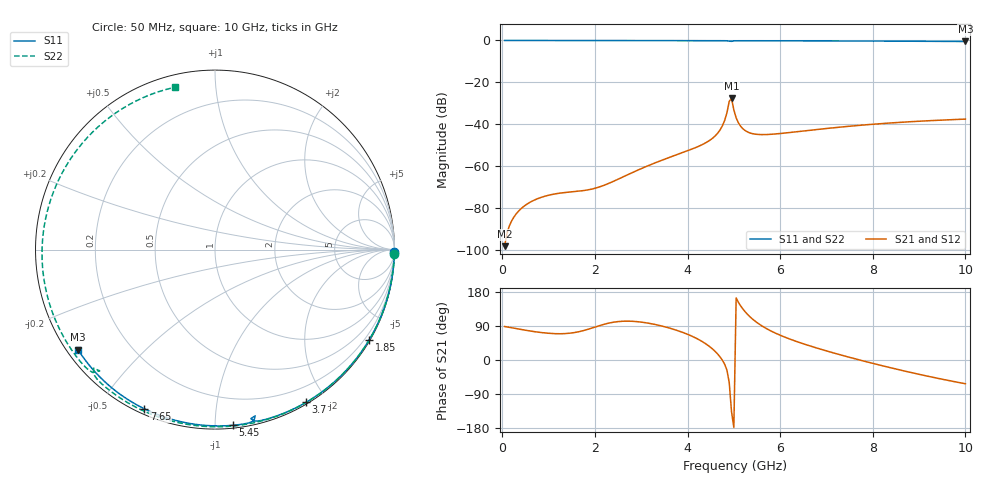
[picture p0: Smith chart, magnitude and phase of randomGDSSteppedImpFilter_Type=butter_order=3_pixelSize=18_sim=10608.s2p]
! freq	dB(S11)	phase(S11)	dB(S12)	phase(S12)
!  dB(S21)	phase(S21)	dB(S22)	phase(S22)
!S-par simulation data
#  GHz  S  DB  R 50
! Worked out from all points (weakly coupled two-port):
!   200 points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, 50 MHz to 10 GHz, reference 50 ohm
!   highest |S21| = -27.67 dB at 4.95 GHz (marker M1); lowest = -98.1 dB at 50 MHz (marker M2)
!   lowest |S11| = -0.5 dB at 10 GHz (marker M3), VSWR 35.59, Z = 1.55 - j16.3 ohm
!   |S11| at or under -10 dB: nowhere
!   |S22| runs from -0.6 to 0.0 dB; largest |S21 - S12| = 0
!   S11 on the Smith chart (normalised r, x): 50 MHz: open; 1.85 GHz: 0.03, -3.68; 3.7 GHz: 0.02, -1.76; 5.45 GHz: 0.02, -1.10; 7.65 GHz: 0.02, -0.65; 10 GHz: 0.03, -0.33
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0.05  -0.00 -0.8  -98.13 88.4  -98.13 88.4  -0.00 -1.5
0.4  -0.01 -6.6  -80.35 80.7  -80.35 80.7  -0.02 -12.4
0.95  -0.02 -15.7  -74.11 71.0  -74.11 71.0  -0.04 -29.3
1.75  -0.04 -28.8  -71.62 77.5  -71.62 77.5  -0.07 -53.0
1.85  -0.04 -30.4  -71.27 81.0  -71.27 81.0  -0.07 -55.9
2.6  -0.05 -42.3  -65.17 102.3  -65.17 102.3  -0.10 -76.8
3.4  -0.07 -54.7  -57.53 91.0  -57.53 91.0  -0.12 -97.8
3.7  -0.08 -59.2  -55.05 81.0  -55.05 81.0  -0.13 -105.3
4.3  -0.10 -68.2  -49.88 49.9  -49.88 49.9  -0.16 -120.0
4.6  -0.11 -72.7  -45.46 22.2  -45.46 22.2  -0.18 -127.3
4.75  -0.12 -75.0  -40.86 -0.1  -40.86 -0.1  -0.20 -131.1
4.85  -0.17 -76.9  -34.58 -26.4  -34.58 -26.4  -0.26 -134.0
4.9  -0.33 -78.0  -29.05 -59.2  -29.05 -59.2  -0.48 -135.7
4.95  -0.42 -76.4  -27.67 -136.4  -27.67 -136.4  -0.61 -133.6
5.05  -0.16 -78.2  -36.90 163.9  -36.90 163.9  -0.24 -136.4
5.2  -0.14 -80.6  -42.22 133.9  -42.22 133.9  -0.21 -140.3
5.45  -0.14 -84.3  -44.66 103.4  -44.66 103.4  -0.22 -146.2
6.7  -0.20 -101.4  -42.70 35.0  -42.70 35.0  -0.30 -174.4
7.65  -0.26 -113.9  -40.62 2.1  -40.62 2.1  -0.38 163.8
8.35  -0.32 -122.9  -39.41 -19.4  -39.41 -19.4  -0.45 147.1
9.25  -0.40 -134.3  -38.24 -44.4  -38.24 -44.4  -0.53 124.3
10  -0.49 -143.8  -37.52 -62.6  -37.52 -62.6  -0.62 103.9
